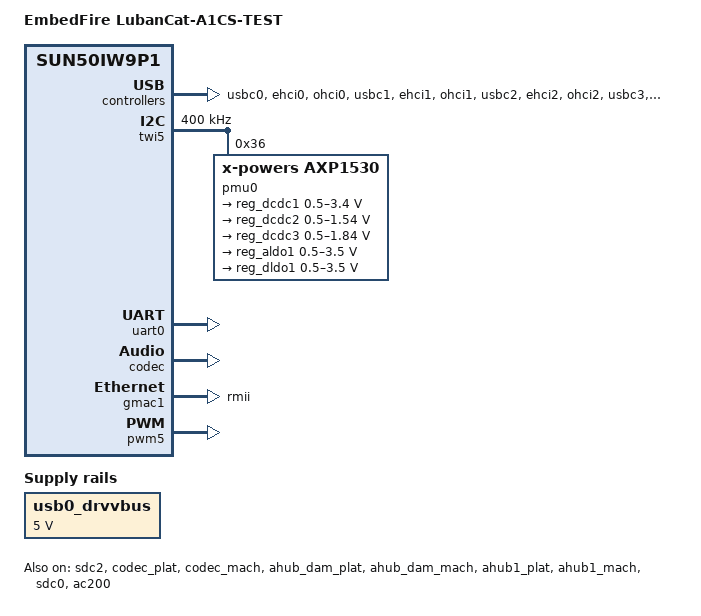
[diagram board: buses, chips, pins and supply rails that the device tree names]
// SPDX-License-Identifier: (GPL-2.0+ or MIT)
/*
 * Copyright (C) 2020 frank@allwinnertech.com
 */

/dts-v1/;
#include <dt-bindings/gpio/sun4i-gpio.h>

#include "sun50iw9.dtsi"
#include "sun50iw9-h618-pinctrl.dtsi"

/{
	model = "EmbedFire LubanCat-A1CS-TEST";
	compatible = "allwinner,h616", "arm,sun50iw9p1";

	aliases {
		disp = &uboot_disp;
		lcd0 = &lcd0;
		pmu0 = &pmu0;
		standby_param = &standby_param;
		hdmi = &uboot_hdmi;
		spi0 = &spi0;
		spi1 = &spi1;
		twi0 = &twi0;
		twi1 = &twi1;
		twi2 = &twi2;
		twi3 = &twi3;
		twi4 = &twi4;
		twi5 = &twi5;
	};

	usb0_drvvbus: usb0-drvvvbus {
		compatible = "regulator-fixed";
		regulator-name = "usb0-drvvbus";
		regulator-min-microvolt = <5000000>;
		regulator-max-microvolt = <5000000>;
		regulator-enable-ramp-delay = <1000>;
		enable-active-high;
	};

	box_start_os0 {
		compatible = "allwinner,box_start_os";
		start_type = <0x1>;
		irkey_used = <0x0>;
		pmukey_used = <0x0>;
		pmukey_num = <0x0>;
		led_power = <0x0>;
		led_state = <0x0>;
		// pinctrl-0 = <&standby_blue>;
		// pinctrl-1 = <&standby_red>;
		/*pinctrl-2 = <&standby_bt>;*/
	};
};

/*
 *usb_port_type: usb mode. 0-device, 1-host, 2-otg.
 *usb_detect_type: usb hotplug detect mode. 0-none, 1-vbus/id detect, 2-id/dpdm detect.
 *usb_detect_mode: 0-thread scan, 1-id gpio interrupt.
 *usb_id_gpio: gpio for id detect.
 *usb_det_vbus_gpio: gpio for id detect. gpio or "axp_ctrl";
 *usb_wakeup_suspend：0-SUPER_STANDBY, 1-USB_STANDBY.
 */
&usbc0 {
	device_type		= "usbc0";
	usb_port_type		= <0x1>;
	usb_detect_type		= <0x0>;
	usb_detect_mode		= <0x0>;
	usb_id_gpio = <>;
	usb_det_vbus_gpio = <>;
	usb_regulator_io	= "nocare";
	usb_wakeup_suspend	= <0x0>;
	usb_luns		= <0x3>;
	usb_serial_unique	= <0>;
	usb_serial_number	= "20080411";
	status			= "okay";
};

&ehci0 {
	drvvbus-supply		= <&usb0_drvvbus>;
	status			= "okay";
};

&ohci0 {
	drvvbus-supply		= <&usb0_drvvbus>;
	status			= "okay";
};

&usbc1 {
	device_type = "usbc1";
	usb_regulator_io = "nocare";
	usb_wakeup_suspend	= <0x0>;
	status = "okay";
};

&ehci1 {
	drvvbus-supply		= <&usb0_drvvbus>;
	status			= "okay";
};

&ohci1 {
	drvvbus-supply		= <&usb0_drvvbus>;
	status			= "okay";
};

&usbc2 {
	device_type = "usbc2";
	usb_regulator_io = "nocare";
	usb_wakeup_suspend = <0x0>;
	status = "okay";
};

&ehci2 {
	drvvbus-supply		= <&usb0_drvvbus>;
	status			= "okay";
};

&ohci2 {
	drvvbus-supply		= <&usb0_drvvbus>;
	status			= "okay";
};

&usbc3 {
	device_type = "usbc3";
	usb_regulator_io = "nocare";
	usb_wakeup_suspend = <0x0>;
	status = "okay";
};

&ehci3 {
	drvvbus-supply		= <&usb0_drvvbus>;
	status			= "okay";
};

&ohci3 {
	drvvbus-supply		= <&usb0_drvvbus>;
	status			= "okay";
};

&cpu0 {
	cpu-supply = <&reg_dcdc2>;
};

// CPU 掉电保护温度
&cpu_trips{
	cpu_crit: cpu_crit@0 {
		temperature = <115000>;
		type = "critical";
		hysteresis = <0>;
	};
};

/* for disp */
&soc {
	card0_boot_para@2 {
		/* Avoid dtc compiling warnings. */
		reg = <0x0 0x2 0x0 0x0>;
		device_type = "card0_boot_para";
		card_ctrl = <0x0>;
		card_high_speed = <0x1>;
		card_line = <0x4>;
		pinctrl-0 = <&sdc0_pins_a>;
		sdc_type = "tm1";
	};

	card2_boot_para@3 {
		/* Avoid dtc compiling warnings. */
		reg = <0x0 0x3 0x0 0x0>;
		device_type = "card2_boot_para";
		card_ctrl = <0x2>;
		card_high_speed = <0x1>;
		card_line = <0x8>;
		pinctrl-0 = <&sdc2_pins_a &sdc2_pins_c>;
		sdc_ex_dly_used = <0x2>;
		sdc_io_1v8 = <0x1>;
		sdc_type = "tm4";
	};

	clk_pll_video2: pll_video2 {
		#clock-cells = <0>;
		compatible = "allwinner,pll-clock";
		lock-mode = "new";
		assigned-clocks = <&clk_pll_video2>;
		/*assigned-clock-rates = <432000000>;*/
		clock-output-names = "pll_video2";
	};

	clk_pll_de: pll_de {
		#clock-cells = <0>;
		compatible = "allwinner,pll-clock";
		assigned-clocks = <&clk_pll_de>;
		assigned-clock-rates = <696000000>;
		lock-mode = "new";
		clock-output-names = "pll_de";
	};

	clk_de: de {
		#clock-cells = <0>;
		compatible = "allwinner,periph-clock";
		assigned-clock-parents = <&clk_pll_de>;
		assigned-clock-rates = <696000000>;
		assigned-clocks = <&clk_de>;
		clock-output-names = "de";
	};

	clk_display_top: display_top {
		#clock-cells = <0>;
		compatible = "allwinner,periph-clock";
		clock-output-names = "display_top";
	};

	clk_tcon_lcd: tcon_lcd {
		#clock-cells = <0>;
		compatible = "allwinner,periph-clock";
		clock-output-names = "tcon_lcd";
	};

	clk_tcon_lcd1: tcon_lcd1 {
		#clock-cells = <0>;
		compatible = "allwinner,periph-clock";
		clock-output-names = "tcon_lcd1";
	};
	clk_tcon_tv: tcon_tv {
		#clock-cells = <0>;
		compatible = "allwinner,periph-clock";
		assigned-clock-parents = <&clk_pll_video2>;
		assigned-clocks = <&clk_tcon_tv>;
		clock-output-names = "tcon_tv";
	};
	clk_tcon_tv1: tcon_tv1 {
		#clock-cells = <0>;
		compatible = "allwinner,periph-clock";
		clock-output-names = "tcon_tv1";
	};
	clk_lvds: lvds {
		#clock-cells = <0>;
		compatible = "allwinner,periph-clock";
		clock-output-names = "lvds";
		assigned-clocks = <&clk_lvds>;
	};
	clk_hdmi: hdmi {
		#clock-cells = <0>;
		compatible = "allwinner,periph-clock";
		assigned-clock-parents = <&clk_pll_video2>;
		assigned-clocks = <&clk_hdmi>;
		clock-output-names = "hdmi";
	};
	clk_hdmi_slow: hdmi_slow {
		#clock-cells = <0>;
		compatible = "allwinner,periph-clock";
		assigned-clocks = <&clk_hdmi_slow>;
		clock-output-names = "hdmi_slow";
	};
	clk_hdmi_cec: hdmi_cec {
		#clock-cells = <0>;
		compatible = "allwinner,periph-clock";
		assigned-clocks = <&clk_hdmi_cec>;
		clock-output-names = "hdmi_cec";
	};
	clk_hdmi_hdcp: hdmi_hdcp {
		#clock-cells = <0>;
		compatible = "allwinner,periph-clock";
		assigned-clock-parents = <&clk_pll_periph1>;
		assigned-clocks = <&clk_hdmi_hdcp>;
		clock-output-names = "hdmi_hdcp";
	};
	clk_pll_periph1: pll_periph1 {
		#clock-cells = <0>;
		compatible = "allwinner,pll-clock";
		assigned-clocks = <&clk_pll_periph1>;
		assigned-clock-rates = <600000000>;
		lock-mode = "new";
		clock-output-names = "pll_periph1";
	};

	auto_print@54321 {
		reg = <0x0 0x54321 0x0 0x0>;
		device_type = "auto_print";
		status = "disabled";
	};

	gpio_para {
		gpio_num = <0>;
		status = "okay";
	};
};

// PMIC TWI5
&twi5 {
	clock-frequency = <400000>;
	pinctrl-0 = <&s_twi0_pins_a>;
	pinctrl-1 = <&s_twi0_pins_b>;
	pinctrl-names = "default", "sleep";
	device_type = "twi5";
	no_suspend = <1>;
	twi_drv_used = <0>;
	status = "okay";

	pmu0: pmu{
		compatible = "x-powers,axp1530";
		reg = <0x36>;
		/* irq line nc */
		wakeup-source;

		standby_param: standby_param {
			vcc-dram = <0x4>;
		};

		regulators{
			reg_dcdc1: dcdc1 {
				regulator-name = "axp1530-dcdc1";
				regulator-min-microvolt = <500000>;
				regulator-max-microvolt = <3400000>;
				regulator-step-delay-us = <25>;
				regulator-final-delay-us = <50>;
				regulator-always-on;
			};

			reg_dcdc2: dcdc2 {
				regulator-name = "axp1530-dcdc2";
				regulator-min-microvolt = <500000>;
				regulator-max-microvolt = <1540000>;
				regulator-step-delay-us = <25>;
				regulator-final-delay-us = <50>;
				regulator-ramp-delay = <200>; /* FIXME */
				regulator-always-on;
			};

			reg_dcdc3: dcdc3 {
				regulator-name = "axp1530-dcdc3";
				regulator-min-microvolt = <500000>;
				regulator-max-microvolt = <1840000>;
				regulator-step-delay-us = <25>;
				regulator-final-delay-us = <50>;
				regulator-always-on;
			};

			reg_aldo1: ldo1 {
				regulator-name = "axp1530-aldo1";
				regulator-min-microvolt = <500000>;
				regulator-max-microvolt = <3500000>;
				regulator-step-delay-us = <25>;
				regulator-final-delay-us = <50>;
				regulator-always-on;
			};

			reg_dldo1: ldo2 {
				regulator-name = "axp1530-dldo1";
				regulator-min-microvolt = <500000>;
				regulator-max-microvolt = <3500000>;
				regulator-step-delay-us = <25>;
				regulator-final-delay-us = <50>;
				regulator-always-on;
			};
		};
	};
};

// DEBUG UART0
&uart0 {
	pinctrl-names = "default", "sleep";
	pinctrl-0 = <&uart0_ph_pins>;
	pinctrl-1 = <&uart0_ph_sleep>;
	status = "okay";
};

// HDMI OUTPUT
&hdmi {
	hdmi_used = <1>;
	aldo1-supply = <&reg_aldo1>;
	dcdc1-supply = <&reg_dcdc1>;
	hdmi_power_cnt = <2>;
	hdmi_power0 = "axp1530-aldo1";
	hdmi_power1 = "axp1530-dcdc1";
	hdmi_hdcp_enable = <1>;
	hdmi_hdcp22_enable = <1>;
	hdmi_cts_compatibility = <0>;
	hdmi_cec_support = <1>;
	hdmi_cec_super_standby = <0>;

	ddc_en_io_ctrl = <0>;
	power_io_ctrl = <0>;
};

// Display Engine
&disp {
	disp_init_enable         = <1>;
	disp_mode                = <0>;

	screen0_output_type      = <3>;
	screen0_output_mode      = <10>;
	screen0_output_format    = <0>;
	screen0_output_bits      = <0>;
	screen0_output_eotf      = <4>;
	screen0_output_cs        = <257>;
	screen0_output_dvi_hdmi  = <2>;
	screen0_output_range     = <2>;
	screen0_output_scan      = <0>;
	screen0_output_aspect_ratio = <8>;

	screen1_output_type      = <2>;
	screen1_output_mode      = <11>;
	screen1_output_format    = <1>;
	screen1_output_bits      = <0>;
	screen1_output_eotf      = <4>;
	screen1_output_cs        = <260>;
	screen1_output_dvi_hdmi  = <0>;
	screen1_output_range     = <2>;
	screen1_output_scan      = <0>;
	screen1_output_aspect_ratio = <8>;
	dev0_output_type         = <4>;
	dev0_output_mode         = <10>;
	dev0_screen_id           = <0>;
	dev0_do_hpd              = <1>;

	dev1_output_type         = <2>;
	dev1_output_mode         = <11>;
	dev1_screen_id           = <1>;
	dev1_do_hpd              = <1>;

	dev2_output_type         = <0>;
	def_output_dev           = <0>;
	hdmi_mode_check          = <1>;

	fb0_format               = <0>;
	fb0_width                = <1280>;
	fb0_height               = <720>;

	fb1_format               = <0>;
	fb1_width                = <0>;
	fb1_height               = <0>;

	chn_cfg_mode             = <1>;

	disp_para_zone           = <1>;
};

&gpu {
	gpu_idle = <1>;
	dvfs_status = <1>;
	operating-points = <
		600000 950000
		576000 950000
		540000 950000
		504000 950000
		456000 950000
		420000 950000
		384000 950000
		360000 950000
		336000 950000
		306000 950000
	>;
};

// eMMC
&sdc2 {
	max-frequency = <100000000>;
	mmc-ddr-1_8v;
	mmc-hs200-1_8v;
	mmc-hs400-1_8v;
	sunxi-dis-signal-vol-sw;
	vmmc-supply = <&reg_dldo1>;
	vqmmc-supply = <&reg_aldo1>;
	status = "okay";
};

/* audio dirver module -> audio codec */
&codec {
	lineout_vol	= <26>;
	tx_hub_en;
	status		= "okay";
};

&codec_plat {
	status		= "okay";
};

&codec_mach {
	status		= "okay";
};

/* audio dirver module -> audio hub */
&ahub_dam_plat {
	status		= "okay";
};

&ahub_dam_mach {
	status		= "okay";
};

&ahub1_plat {
	tdm_num		= <1>;
	tx_pin		= <0>;
	rx_pin		= <0>;
	dai_type	= "hdmi";
	status		= "okay";
};

&ahub1_mach {
	status		= "okay";
	soundcard-mach,format		= "i2s";
	soundcard-mach,frame-master	= <&ahub1_cpu>;
	soundcard-mach,bitclock-master	= <&ahub1_cpu>;
	/* soundcard-mach,frame-inversion; */
	/* soundcard-mach,bitclock-inversion; */
	soundcard-mach,slot-num		= <2>;
	soundcard-mach,slot-width	= <32>;
	ahub1_cpu: soundcard-mach,cpu {
		sound-dai = <&ahub1_plat>;
		soundcard-mach,pll-fs	= <4>;	/* pll freq = 24.576M or 22.5792M * pll-fs */
		soundcard-mach,mclk-fs	= <0>;	/* mclk freq = pcm rate * mclk-fs */
	};
	ahub1_codec: soundcard-mach,codec {
	};
};

// SD Card
&sdc0 {
	max-frequency = <100000000>;
	sd-uhs-sdr50;
	sd-uhs-ddr50;
	sd-uhs-sdr104;
	vmmc-supply = <&reg_dldo1>;
	vqmmc33sw-supply = <&reg_dldo1>;
	vdmmc33sw-supply = <&reg_dldo1>;
	vqmmc18sw-supply = <&reg_aldo1>;
	vdmmc18sw-supply = <&reg_aldo1>;
	cd-gpios = <&pio PH 4 (GPIO_ACTIVE_LOW | GPIO_PULL_UP)>;
	status = "okay";
};

// Ethernet 100M
&gmac1 {
	phy-mode = "rmii";
	pinctrl-0 = <&gmac1_pins_a>;
	pinctrl-1 = <&gmac1_pins_b>;
	pinctrl-names = "default", "sleep";
	status = "okay";
};

&ac200 {
	tv_used = <1>;
	tv_twi_used = <1>;
	tv_twi_id = <3>;
	tv_twi_addr = <16>;
	tv_pwm_ch = <5>;
	status = "okay";
};

&pwm5 {
	pinctrl-names = "active", "sleep";
	pinctrl-0 = <&pwm5_pin_a>;
	pinctrl-1 = <&pwm5_pin_b>;
	status = "okay";
};
